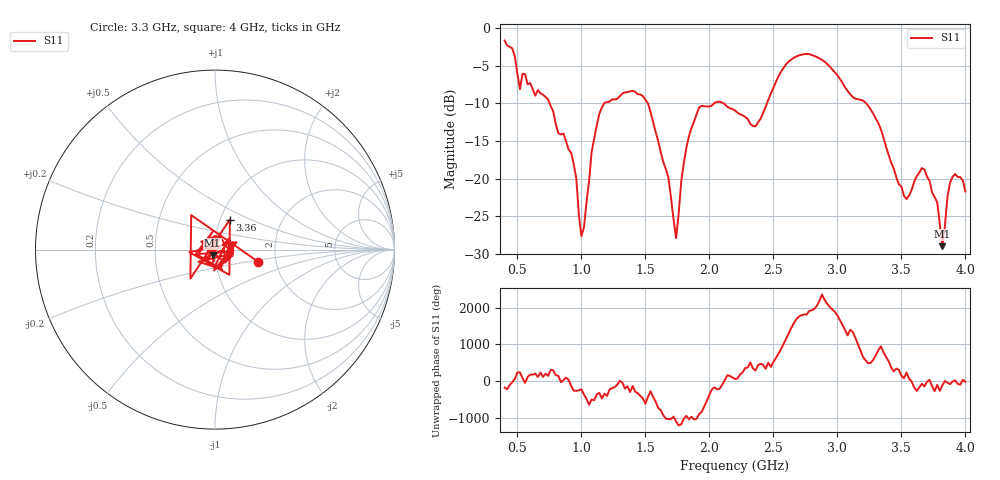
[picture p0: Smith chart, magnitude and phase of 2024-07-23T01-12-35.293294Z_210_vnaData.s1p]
!Created with skrf (http://scikit-rf.org).
# Hz S RI R 50.0
!freq ReS11 ImS11
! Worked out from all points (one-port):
!   181 points, 400 MHz to 4 GHz, reference 50 ohm
!   lowest |S11| = -29.0 dB at 3.82 GHz (marker M1), VSWR 1.07, Z = 48.5 - j3.18 ohm
!   |S11| at or under -10 dB: 751.5 MHz to 1.179 GHz (427.2 MHz wide, 44.3 % of centre); 1.519 GHz to 2.037 GHz (518.7 MHz wide, 29.2 % of centre); 3.224 GHz to end of sweep (the widest 3 of 4)
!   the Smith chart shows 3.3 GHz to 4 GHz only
!   S11 on the Smith chart (normalised r, x): 3.3 GHz: 1.61, -0.23; 3.36 GHz: 1.11, +0.39; 4 GHz: 1.17, -0.04
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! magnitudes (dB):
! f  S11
! 400 MHz  -1.7
! 460 MHz  -2.7
! 520 MHz  -8.1
! 560 MHz  -6.2
! 860 MHz  -14.0
! 960 MHz  -20.0
! 1 GHz  -27.7
! 1.14 GHz  -11.4
! 1.3 GHz  -9.1
! 1.52 GHz  -10.0
! 1.68 GHz  -19.9
! 1.74 GHz  -27.9
! 1.76 GHz  -24.6
! 1.82 GHz  -15.9
! 1.92 GHz  -10.6
! 2.2 GHz  -11.0
! 2.36 GHz  -13.1
! 2.66 GHz  -3.9
! 2.88 GHz  -4.2
! 3.1 GHz  -8.8
! 3.3 GHz  -12.0
! 3.36 GHz  -14.6
! 3.56 GHz  -22.3
! 3.68 GHz  -18.8
! 3.78 GHz  -23.2
! 3.82 GHz  -29.0
! 3.88 GHz  -20.5
! 4 GHz  -21.7
